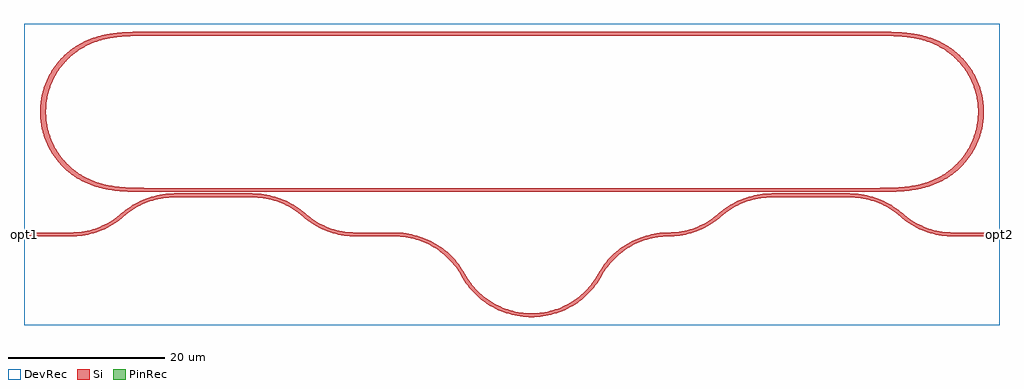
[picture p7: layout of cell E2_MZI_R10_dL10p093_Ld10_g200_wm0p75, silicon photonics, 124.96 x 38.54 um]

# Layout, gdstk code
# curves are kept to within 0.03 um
import gdstk
lib = gdstk.Library(unit=1e-6, precision=1e-09)
def R(c, l, rs):  # rectangles x0, y0, x1, y1
    for r in rs: c.add(gdstk.rectangle(r[:2], r[2:], *l))
def P(c, l, *ps):  # polygons
    for p in ps: c.add(gdstk.Polygon(p, *l))
Si = (1, 0)
PinRec = (1, 10)
DevRec = (68, 0)

c__e2ring_r10p000_lc90p480 = lib.new_cell('_E2ring_R10p000_Lc90p480_w0p500_wm0p750_tp30')
R(c__e2ring_r10p000_lc90p480, Si, [(-45.24,-10.25,45.24,-9.75), (-45.24,9.75,45.24,10.25)])
P(c__e2ring_r10p000_lc90p480, Si, [(-46.401,-10.25),(-49.385,-10.193),(-51.53,-9.976),(-52.506,-9.783),(-53.306,-9.565),(-54.088,-9.289),(-54.846,-8.954),(-55.709,-8.475),(-56.379,-8.02),(-57.13,-7.404),(-57.819,-6.719),(-58.437,-5.969),(-58.98,-5.163),(-59.371,-4.454),(-59.762,-3.564),(-60.064,-2.641),(-60.275,-1.693),(-60.393,-0.728),(-60.417,0.243),(-60.346,1.212),(-60.181,2.17),(-59.924,3.107),(-59.577,4.014),(-59.143,4.884),(-58.627,5.707),(-58.033,6.476),(-57.367,7.184),(-56.636,7.823),(-55.846,8.388),(-54.994,8.88),(-54.088,9.29),(-53.147,9.613),(-52.019,9.888),(-50.708,10.088),(-49.385,10.193),(-45.24,10.25),(-45.24,9.75),(-47.759,9.741),(-49.489,9.678),(-51.054,9.515),(-52.289,9.271),(-53.638,8.841),(-54.777,8.304),(-55.817,7.636),(-56.76,6.84),(-57.686,5.807),(-58.453,4.651),(-59.042,3.395),(-59.289,2.664),(-59.475,1.916),(-59.655,0.54),(-59.632,-0.847),(-59.408,-2.216),(-58.986,-3.538),(-58.669,-4.242),(-58.216,-5.048),(-57.78,-5.684),(-57.19,-6.398),(-56.648,-6.946),(-55.941,-7.543),(-55.309,-7.986),(-54.638,-8.379),(-53.784,-8.781),(-52.896,-9.101),(-51.829,-9.376),(-50.899,-9.537),(-48.703,-9.717),(-45.24,-9.75),(-45.24,-10.25)],
  [(45.24,-10.25),(45.24,-9.75),(47.916,-9.738),(49.489,-9.678),(50.899,-9.537),(52.136,-9.307),(53.046,-9.053),(53.929,-8.72),(54.777,-8.304),(55.566,-7.815),(56.418,-7.152),(57.19,-6.398),(57.871,-5.56),(58.527,-4.515),(58.986,-3.538),(59.37,-2.366),(59.6,-1.154),(59.67,-0.077),(59.6,1.155),(59.408,2.217),(59.096,3.25),(58.669,4.242),(58.133,5.179),(57.394,6.167),(56.648,6.946),(55.692,7.726),(54.914,8.227),(54.073,8.657),(53.195,9.004),(52.136,9.308),(50.743,9.559),(49.489,9.678),(47.759,9.741),(45.24,9.75),(45.24,10.25),(49.054,10.209),(51.202,10.026),(52.344,9.82),(53.306,9.565),(54.088,9.29),(54.994,8.88),(55.846,8.388),(56.636,7.823),(57.367,7.184),(58.033,6.476),(58.627,5.707),(59.143,4.884),(59.577,4.014),(59.924,3.107),(60.181,2.17),(60.346,1.212),(60.417,0.243),(60.393,-0.728),(60.275,-1.693),(60.064,-2.641),(59.762,-3.564),(59.371,-4.454),(58.895,-5.301),(58.437,-5.969),(57.819,-6.719),(57.25,-7.295),(56.636,-7.823),(55.846,-8.388),(54.994,-8.879),(54.241,-9.227),(53.306,-9.565),(52.506,-9.783),(50.708,-10.087),(48.557,-10.226)])

e2_mzi_r10_dl10p093_ld10 = lib.new_cell('E2_MZI_R10_dL10p093_Ld10_g200_wm0p75')
R(e2_mzi_r10_dl10p093_ld10, Si, [(-1,-0.25,0,0.25), (0,-0.25,5,0.25), (41.458,-0.25,46.458,0.25), (117.937,-0.25,122.937,0.25), (122.937,-0.25,123.937,0.25), (18.229,4.75,28.229,5.25), (94.708,4.75,104.708,5.25)])
P(e2_mzi_r10_dl10p093_ld10, Si, [(88.259,2.313),(87.929,2.688),(89.107,3.584),(90.402,4.301),(91.433,4.713),(92.503,5.01),(93.599,5.19),(94.708,5.25),(94.708,4.75),(94.004,4.725),(92.956,4.591),(92.268,4.44),(91.261,4.12),(90.612,3.848),(89.679,3.352),(88.804,2.759)],
  [(81.48,-0.25),(81.48,0.25),(82.184,0.275),(83.232,0.409),(83.92,0.56),(84.927,0.88),(85.576,1.152),(86.51,1.648),(87.384,2.241),(87.929,2.688),(88.259,2.313),(87.687,1.843),(86.768,1.219),(86.12,0.86),(85.104,0.412),(84.402,0.175),(83.322,-0.083),(82.589,-0.19)],
  [(72.943,-5.29),(72.505,-5.048),(73.298,-3.826),(74.001,-2.99),(74.518,-2.477),(75.07,-2.001),(75.958,-1.364),(77.238,-0.669),(78.604,-0.162),(80.027,0.147),(81.48,0.25),(81.48,-0.25),(80.098,-0.348),(78.744,-0.642),(77.445,-1.124),(76.228,-1.785),(75.383,-2.391),(74.366,-3.332),(73.697,-4.127)],
  [(54.994,-5.29),(54.24,-4.127),(53.571,-3.332),(52.554,-2.391),(51.709,-1.785),(50.492,-1.124),(49.193,-0.642),(47.839,-0.348),(46.458,-0.25),(46.458,0.25),(47.91,0.147),(49.334,-0.162),(50.699,-0.669),(51.979,-1.364),(52.867,-2.001),(53.419,-2.477),(53.936,-2.99),(54.64,-3.826),(55.432,-5.048)],
  [(63.969,-10.588),(63.969,-10.088),(65.351,-9.989),(66.704,-9.696),(68.003,-9.214),(68.925,-8.734),(70.065,-7.946),(71.082,-7.006),(71.955,-5.93),(72.505,-5.048),(72.943,-5.29),(72.151,-6.512),(71.447,-7.348),(70.378,-8.337),(69.179,-9.164),(67.876,-9.814),(66.845,-10.176),(65.421,-10.484)],
  [(41.458,-0.25),(40.348,-0.19),(39.616,-0.083),(38.535,0.175),(37.834,0.412),(36.817,0.86),(36.17,1.219),(35.549,1.624),(34.678,2.313),(35.008,2.688),(35.553,2.241),(36.428,1.648),(37.361,1.152),(38.01,0.88),(39.017,0.56),(39.705,0.409),(40.753,0.275),(41.458,0.25)],
  [(117.937,-0.25),(116.828,-0.19),(116.095,-0.083),(115.015,0.175),(114.313,0.412),(113.297,0.86),(112.649,1.219),(111.73,1.843),(111.157,2.313),(111.488,2.688),(112.033,2.241),(112.907,1.648),(113.841,1.152),(114.49,0.88),(115.497,0.56),(116.185,0.409),(117.233,0.275),(117.937,0.25)],
  [(34.678,2.313),(33.849,2.967),(33.259,3.352),(32.325,3.848),(31.676,4.12),(30.669,4.44),(29.981,4.591),(28.933,4.725),(28.229,4.75),(28.229,5.25),(29.338,5.19),(30.434,5.01),(31.504,4.713),(32.536,4.301),(33.83,3.584),(35.008,2.688)],
  [(111.157,2.313),(110.613,2.759),(109.738,3.352),(108.805,3.848),(108.156,4.12),(107.149,4.44),(106.461,4.591),(105.413,4.725),(104.708,4.75),(104.708,5.25),(105.818,5.19),(106.914,5.01),(107.984,4.713),(109.015,4.301),(110.31,3.584),(111.488,2.688)],
  [(63.969,-10.588),(62.516,-10.484),(61.092,-10.176),(60.061,-9.814),(58.758,-9.164),(57.559,-8.337),(56.49,-7.348),(55.572,-6.217),(54.994,-5.29),(55.432,-5.048),(55.982,-5.93),(56.855,-7.006),(57.872,-7.946),(59.012,-8.734),(59.934,-9.214),(61.233,-9.696),(62.587,-9.989),(63.969,-10.088)],
  [(11.78,2.313),(11.449,2.688),(12.627,3.584),(13.922,4.301),(14.954,4.713),(16.024,5.01),(17.12,5.19),(18.229,5.25),(18.229,4.75),(17.525,4.725),(16.477,4.591),(15.789,4.44),(14.782,4.12),(14.132,3.848),(13.199,3.352),(12.609,2.967)],
  [(5,-0.25),(5,0.25),(5.704,0.275),(6.752,0.409),(7.44,0.56),(8.447,0.88),(9.097,1.152),(10.03,1.648),(10.904,2.241),(11.449,2.688),(11.78,2.313),(11.207,1.843),(10.288,1.219),(9.64,0.86),(8.624,0.412),(7.922,0.175),(6.842,-0.083),(6.109,-0.19)])
R(e2_mzi_r10_dl10p093_ld10, DevRec, [(-1,-11.588,123.937,26.95)])
e2_mzi_r10_dl10p093_ld10.add(gdstk.FlexPath([(123.927,0),(123.947,0)], 0.5, ends="flush", simple_path=True, layer=1, datatype=10))  # PinRec
e2_mzi_r10_dl10p093_ld10.add(gdstk.FlexPath([(-0.99,0),(-1.01,0)], 0.5, ends="flush", simple_path=True, layer=1, datatype=10))  # PinRec
e2_mzi_r10_dl10p093_ld10.add(gdstk.Reference(c__e2ring_r10p000_lc90p480, (61.469,15.7)))
e2_mzi_r10_dl10p093_ld10.add(gdstk.Label('opt2', (123.937,0), layer=1, texttype=10))
e2_mzi_r10_dl10p093_ld10.add(gdstk.Label('opt1', (-1,0), layer=1, texttype=10))

lib.write_gds('E2_MZI_R10_dL10p093_Ld10_g200_wm0p75.gds')
